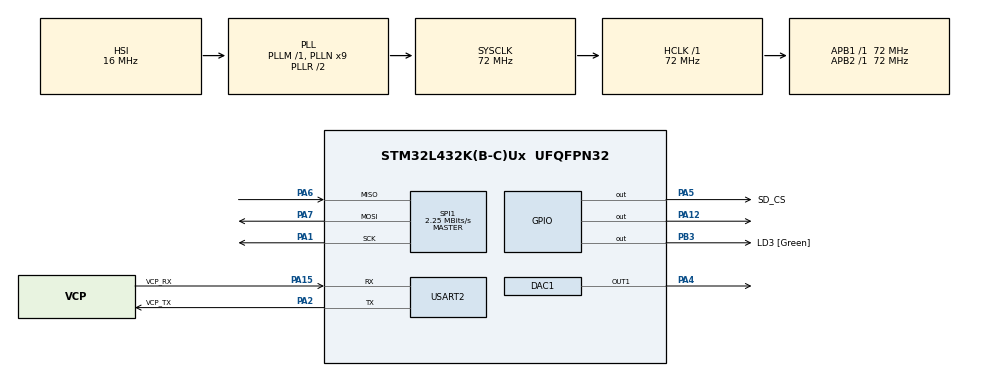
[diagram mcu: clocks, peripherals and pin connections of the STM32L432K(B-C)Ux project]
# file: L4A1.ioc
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DAC1.DAC_SampleAndHold-DAC_OUT1=DAC_SAMPLEANDHOLD_DISABLE
DAC1.DAC_Trigger-DAC_OUT1=DAC_TRIGGER_T2_TRGO
Dma.DAC_CH1.0.Direction=DMA_MEMORY_TO_PERIPH
Dma.DAC_CH1.0.Instance=DMA1_Channel3
Dma.DAC_CH1.0.MemDataAlignment=DMA_MDATAALIGN_BYTE
Dma.DAC_CH1.0.MemInc=DMA_MINC_ENABLE
Dma.DAC_CH1.0.Mode=DMA_CIRCULAR
Dma.DAC_CH1.0.PeriphDataAlignment=DMA_PDATAALIGN_BYTE
Dma.DAC_CH1.0.PeriphInc=DMA_PINC_DISABLE
Dma.DAC_CH1.0.Priority=DMA_PRIORITY_LOW
Dma.Request0=DAC_CH1
Mcu.Family=STM32L4
Mcu.Name=STM32L432K(B-C)Ux
Mcu.Package=UFQFPN32
NVIC.DMA1_Channel3_IRQn=true\:0\:0\:false\:false\:true\:false\:true\:true
NVIC.PriorityGroup=NVIC_PRIORITYGROUP_4
PA0.GPIO_Label=MCO [High speed clock in]
PA0.Mode=HSE-External-Clock-Source-for-LittleOrca
PA0.Signal=RCC_CK_IN
PA1.Mode=Full_Duplex_Master
PA1.Signal=SPI1_SCK
PA12.Signal=GPIO_Output
PA13\ (JTMS-SWDIO).GPIO_Label=SWDIO
PA13\ (JTMS-SWDIO).Mode=Serial_Wire
PA13\ (JTMS-SWDIO).Signal=SYS_JTMS-SWDIO
PA14\ (JTCK-SWCLK).GPIO_Label=SWCLK
PA14\ (JTCK-SWCLK).Mode=Serial_Wire
PA14\ (JTCK-SWCLK).Signal=SYS_JTCK-SWCLK
PA15\ (JTDI).GPIO_Label=VCP_RX
PA15\ (JTDI).Mode=Asynchronous
PA15\ (JTDI).Signal=USART2_RX
PA2.GPIO_Label=VCP_TX
PA2.Mode=Asynchronous
PA2.Signal=USART2_TX
PA4.Signal=COMP_DAC11_group
PA5.GPIO_Label=SD_CS
PA5.Signal=GPIO_Output
PA6.Mode=Full_Duplex_Master
PA6.Signal=SPI1_MISO
PA7.Mode=Full_Duplex_Master
PA7.Signal=SPI1_MOSI
PB3\ (JTDO-TRACESWO).GPIO_Label=LD3 [Green]
PB3\ (JTDO-TRACESWO).Signal=GPIO_Output
PC14-OSC32_IN\ (PC14).Mode=LSE-External-Oscillator
PC14-OSC32_IN\ (PC14).Signal=RCC_OSC32_IN
PC15-OSC32_OUT\ (PC15).Mode=LSE-External-Oscillator
PC15-OSC32_OUT\ (PC15).Signal=RCC_OSC32_OUT
ProjectManager.HeapSize=0x200
ProjectManager.StackSize=0x400
ProjectManager.TargetToolchain=Makefile
RCC.ADCFreq_Value=64000000
RCC.AHBFreq_Value=72000000
RCC.APB1Freq_Value=72000000
RCC.APB1TimFreq_Value=72000000
RCC.APB2Freq_Value=72000000
RCC.APB2TimFreq_Value=72000000
RCC.CortexFreq_Value=72000000
RCC.HCLKFreq_Value=72000000
RCC.HSE_VALUE=24000000
RCC.HSI16_VALUE=16000000
RCC.HSI48_VALUE=48000000
RCC.HSI_VALUE=16000000
RCC.MSI_VALUE=4000000
RCC.PLLMUL=RCC_PLLMUL_4
RCC.PLLN=9
RCC.PLLSourceVirtual=RCC_PLLSOURCE_HSI
RCC.SYSCLKFreq_VALUE=72000000
RCC.SYSCLKSource=RCC_SYSCLKSOURCE_PLLCLK
RCC.USBFreq_Value=64000000
RCC.VCOOutputFreq_Value=144000000
SH.COMP_DAC11_group.0=DAC1_OUT1,DAC_OUT1
SPI1.BaudRatePrescaler=SPI_BAUDRATEPRESCALER_32
SPI1.CalculateBaudRate=2.25 MBits/s
SPI1.DataSize=SPI_DATASIZE_8BIT
SPI1.Direction=SPI_DIRECTION_2LINES
SPI1.Mode=SPI_MODE_MASTER
SPI1.VirtualType=VM_MASTER
TIM2.AutoReloadPreload=TIM_AUTORELOAD_PRELOAD_ENABLE
TIM2.Period=9000
TIM2.Prescaler=0
TIM2.TIM_MasterOutputTrigger=TIM_TRGO_UPDATE
USART2.VirtualMode-Asynchronous=VM_ASYNC
VP_FATFS_VS_Generic.Mode=User_defined
VP_TIM2_VS_ClockSourceINT.Mode=Internal
board=NUCLEO-L432KC

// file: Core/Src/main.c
/* USER CODE BEGIN Header */
/**
  ******************************************************************************
  * @file           : main.c
  * @brief          : Main program body
  ******************************************************************************
  * @attention
  *
  * Copyright (c) 2023 STMicroelectronics.
  * All rights reserved.
  *
  * This software is licensed under terms that can be found in the LICENSE file
  * in the root directory of this software component.
  * If no LICENSE file comes with this software, it is provided AS-IS.
  *
  ******************************************************************************
  */
/* USER CODE END Header */
#include "main.h"
#include "dac.h"
#include "dma.h"
#include "fatfs.h"
#include "spi.h"
#include "tim.h"
#include "usart.h"
#include "gpio.h"

/* USER CODE BEGIN Includes */
#include <stdio.h>
/* USER CODE END Includes */

/* USER CODE BEGIN PD */
#define DMA_buffer 1024
/* USER CODE END PD */

/* USER CODE BEGIN PV */
  uint8_t readBuf[DMA_buffer] = {0};
  uint8_t testBuf[4096] = {0,0,0,0,0,0,0,0,0xFF,0xFF,0xFF,0xFF,0xFF,0xFF,0xFF,0xFF};
  FATFS FatFs; 	//Fatfs handle
  FIL fil; 		//File handle
  FRESULT fres; //Result after operations
  uint8_t bufferState = 0;

/* USER CODE END PV */

void SystemClock_Config(void);
/* USER CODE BEGIN PFP */
void SD_CARD_INIT(void);
/* USER CODE END PFP */

/* USER CODE BEGIN 0 */
DWORD free_clusters, free_sectors, total_sectors;
FATFS* getFreeFs;
UINT read_chars = 1;
/* USER CODE END 0 */

int main(void)
{

  /* MCU Configuration--------------------------------------------------------*/

  /* Reset of all peripherals, Initializes the Flash interface and the Systick. */
  HAL_Init();

  /* Configure the system clock */
  SystemClock_Config();

  /* Initialize all configured peripherals */
  MX_GPIO_Init();
  MX_DMA_Init();
  MX_USART2_UART_Init();
  MX_SPI1_Init();
  MX_TIM2_Init();
  MX_FATFS_Init();
  MX_DAC1_Init();
  /* USER CODE BEGIN 2 */
  uint8_t asendDMA[6] = {0x0, 0x33, 0x66, 0x99, 0xCC, 0xFF};

   //HAL_SPI_Transmit_DMA(&hspi1,(uint32_t *)&asendDMA, 2);
  SD_CARD_INIT();
  f_read (&fil, readBuf,DMA_buffer, &read_chars);
  HAL_TIM_OC_Start_IT(&htim2,TIM_CHANNEL_4);
  HAL_DAC_Start_DMA(&hdac1,DAC1_CHANNEL_1,(uint32_t *)readBuf, DMA_buffer,DAC_ALIGN_8B_R);

  /* USER CODE END 2 */

  /* Infinite loop */
  /* USER CODE BEGIN WHILE */
  while (1)
  {

    if(bufferState == 1)
	{

                f_read (&fil, &readBuf[0],DMA_buffer/2, &read_chars);
		bufferState = 0;
	}
	if(bufferState == 2)
	{

                f_read (&fil, &readBuf[DMA_buffer/2],DMA_buffer/2, &read_chars);
		bufferState = 0;
	}

  //Be a tidy kiwi - don't forget to close your file!
  //f_close(&fil);

    //HAL_SPI_Transmit(&hspi1,&test,1,HAL_MAX_DELAY);
    /* USER CODE END WHILE */

  }
}

void SystemClock_Config(void)
{
  RCC_OscInitTypeDef RCC_OscInitStruct = {0};
  RCC_ClkInitTypeDef RCC_ClkInitStruct = {0};

  /** Configure the main internal regulator output voltage
  */
  if (HAL_PWREx_ControlVoltageScaling(PWR_REGULATOR_VOLTAGE_SCALE1) != HAL_OK)
  {
    Error_Handler();
  }

  /** Initializes the RCC Oscillators according to the specified parameters
  * in the RCC_OscInitTypeDef structure.
  */
  RCC_OscInitStruct.OscillatorType = RCC_OSCILLATORTYPE_HSI;
  RCC_OscInitStruct.HSIState = RCC_HSI_ON;
  RCC_OscInitStruct.HSICalibrationValue = RCC_HSICALIBRATION_DEFAULT;
  RCC_OscInitStruct.PLL.PLLState = RCC_PLL_ON;
  RCC_OscInitStruct.PLL.PLLSource = RCC_PLLSOURCE_HSI;
  RCC_OscInitStruct.PLL.PLLM = 1;
  RCC_OscInitStruct.PLL.PLLN = 9;
  RCC_OscInitStruct.PLL.PLLP = RCC_PLLP_DIV7;
  RCC_OscInitStruct.PLL.PLLQ = RCC_PLLQ_DIV2;
  RCC_OscInitStruct.PLL.PLLR = RCC_PLLR_DIV2;
  if (HAL_RCC_OscConfig(&RCC_OscInitStruct) != HAL_OK)
  {
    Error_Handler();
  }

  /** Initializes the CPU, AHB and APB buses clocks
  */
  RCC_ClkInitStruct.ClockType = RCC_CLOCKTYPE_HCLK|RCC_CLOCKTYPE_SYSCLK
                              |RCC_CLOCKTYPE_PCLK1|RCC_CLOCKTYPE_PCLK2;
  RCC_ClkInitStruct.SYSCLKSource = RCC_SYSCLKSOURCE_PLLCLK;
  RCC_ClkInitStruct.AHBCLKDivider = RCC_SYSCLK_DIV1;
  RCC_ClkInitStruct.APB1CLKDivider = RCC_HCLK_DIV1;
  RCC_ClkInitStruct.APB2CLKDivider = RCC_HCLK_DIV1;

  if (HAL_RCC_ClockConfig(&RCC_ClkInitStruct, FLASH_LATENCY_4) != HAL_OK)
  {
    Error_Handler();
  }
}

/* USER CODE BEGIN 4 */

void SD_CARD_INIT(void)
{

    fres = f_mount(&FatFs, "", 1); //1=mount now

    if (fres != FR_OK) {
	printf("f_mount error (%i)\r\n", fres);
    }

    DWORD free_clusters, free_sectors, total_sectors;

    FATFS* getFreeFs;

    fres = f_getfree("", &free_clusters, &getFreeFs);
    if (fres != FR_OK) {
	printf("f_getfree error (%i)\r\n", fres);
      }

  //Formula comes from ChaN's documentation
    total_sectors = (getFreeFs->n_fatent - 2) * getFreeFs->csize;
    free_sectors = free_clusters * getFreeFs->csize;

    printf("SD card stats:\r\n %lu KiB total drive space.\r\n %lu KiB available.\r\n", total_sectors / 2, free_sectors / 2);
    //textfile.txt eller snd.wav
    fres = f_open(&fil, "snd.wav", FA_READ);
    if (fres != FR_OK) {
  	printf("f_open error (%i)\r\n");
  	while(1);
    }
    printf("I was able to open file for reading!\r\n");

}

void HAL_DAC_ConvHalfCpltCallbackCh1(DAC_HandleTypeDef *hdac)
{
 bufferState = 1;
}

void HAL_DAC_ConvCpltCallbackCh1(DAC_HandleTypeDef *hdac)
{
 bufferState = 2;
}

/* USER CODE END 4 */

void Error_Handler(void)
{
  __disable_irq();
  while (1)
  {
  }
}
